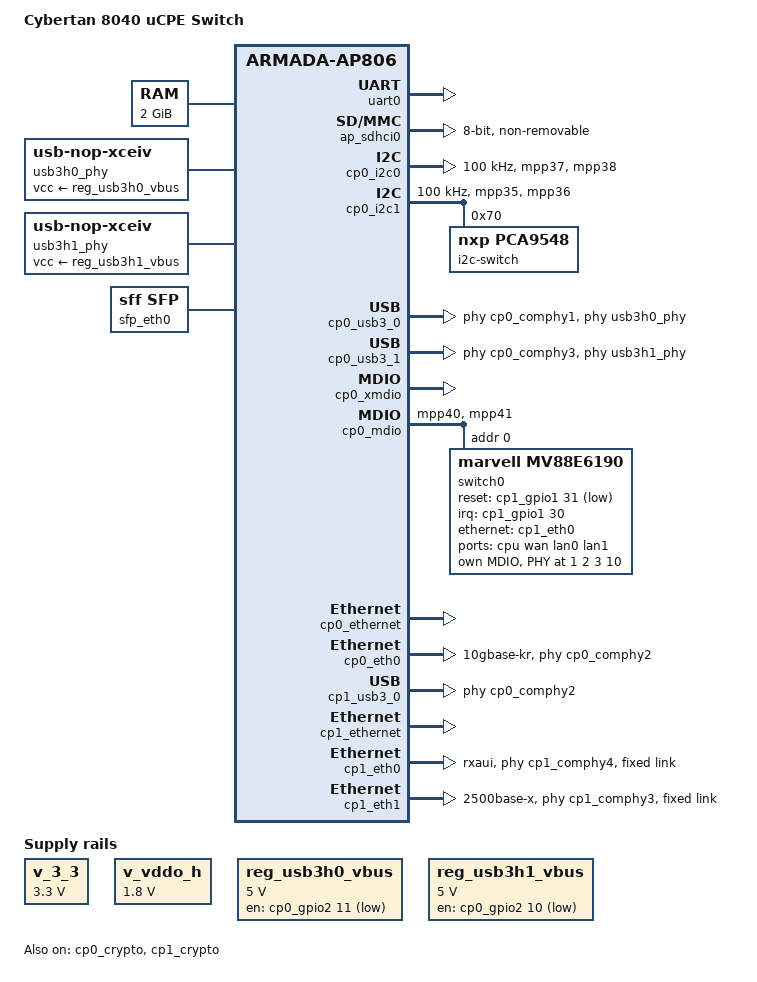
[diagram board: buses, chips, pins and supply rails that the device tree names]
// SPDX-License-Identifier: (GPL-2.0+ OR MIT)
/*
 * Copyright (C) 2016 Marvell Technology Group Ltd.
 *
 * Device Tree file for the Cybertan Armada 8040 based switch
 */

#include "armada-8040.dtsi"

#include <dt-bindings/gpio/gpio.h>

/ {
	model = "Cybertan 8040 uCPE Switch";
	compatible = "cybertan,armada8040-ucpe", "marvell,armada8040",
			"marvell,armada-ap806-quad", "marvell,armada-ap806";

	chosen {
		stdout-path = "serial0:115200n8";
	};

	memory@0 {
		device_type = "memory";
		reg = <0x0 0x0 0x0 0x80000000>;
	};

	aliases {
		ethernet0 = &cp0_eth0;
		ethernet1 = &cp1_eth0;
		ethernet2 = &cp1_eth1;
	};

	/* Regulator labels correspond with schematics */
	v_3_3: regulator-3-3v {
		compatible = "regulator-fixed";
		regulator-name = "v_3_3";
		regulator-min-microvolt = <3300000>;
		regulator-max-microvolt = <3300000>;
		regulator-always-on;
		status = "okay";
	};

	v_vddo_h: regulator-1-8v {
		compatible = "regulator-fixed";
		regulator-name = "v_vddo_h";
		regulator-min-microvolt = <1800000>;
		regulator-max-microvolt = <1800000>;
		regulator-always-on;
		status = "okay";
	};
	reg_usb3h0_vbus: USB3-Right-Port-vbus {
		compatible = "regulator-fixed";
		pinctrl-names = "default";
		pinctrl-0 = <&CP0_usb3_port0_en>;
		regulator-name = "reg-usb3h0-vbus";
		regulator-min-microvolt = <5000000>;
		regulator-max-microvolt = <5000000>;
		enable-active-low;
		gpio = <&cp0_gpio2 11 GPIO_ACTIVE_LOW>; /* GPIO[43]*/
		status = "okay";
	};
	reg_usb3h1_vbus: USB3-LEFT-Port-vbus {
		compatible = "regulator-fixed";
		pinctrl-names = "default";
		pinctrl-0 = <&CP0_usb3_port1_en>;
		regulator-name = "reg-usb3h1-vbus";
		regulator-min-microvolt = <5000000>;
		regulator-max-microvolt = <5000000>;
		enable-active-low;
		gpio = <&cp0_gpio2 10 GPIO_ACTIVE_LOW>; /*GPIO[44]*/
		status = "okay";
	};

	usb3h0_phy: usb3_phy0 {
		compatible = "usb-nop-xceiv";
		vcc-supply = <&reg_usb3h0_vbus>;
	};

	usb3h1_phy: usb3_phy1 {
		compatible = "usb-nop-xceiv";
		vcc-supply = <&reg_usb3h1_vbus>;
	};

	sfp_eth0: sfp-eth0 {
		compatible = "sff,sfp";
		status = "okay";
	};

        switch {
                compatible = "marvell,mvmdio-uio";
                status = "okay";
                mii-bus = <&cp0_mdio>;
        };

};

&uart0 {
	status = "okay";
	pinctrl-0 = <&uart0_pins>;
	pinctrl-names = "default";
};

&ap_sdhci0 {
	bus-width = <8>;
	/*
	 * Not stable in HS modes - phy needs "more calibration", so add
	 * the "slow-mode" and disable SDR104, SDR50 and DDR50 modes.
	 */
	marvell,xenon-phy-slow-mode;
	no-1-8-v;
	no-sd;
	no-sdio;
	non-removable;
	status = "okay";
	vqmmc-supply = <&v_vddo_h>;
};

&cp0_pinctrl {
	CP0_usb3_port0_en: xhci0-vbus-pins {
		marvell,pins = "mpp43";
		marvell,function = "gpio";
	};
	CP0_usb3_port1_en: xhci1-vbus-pins {
		marvell,pins = "mpp42";
		marvell,function = "gpio";
	};
	cp0_ge_mdio_pins: ge-mdio-pins {
		marvell,pins = "mpp40", "mpp41";
		marvell,function = "ge";
	};
	cp0_i2c1_pins: i2c1-pins {
		marvell,pins = "mpp35", "mpp36";
		marvell,function = "i2c1";
	};
	cp0_i2c0_pins: i2c0-pins {
		marvell,pins = "mpp37", "mpp38";
		marvell,function = "i2c0";
	};
};

&cp0_i2c0 {
	clock-frequency = <100000>;
	pinctrl-names = "default";
	pinctrl-0 = <&cp0_i2c0_pins>;
	status = "okay";
};

&cp0_i2c1 {
	clock-frequency = <100000>;
	pinctrl-names = "default";
	pinctrl-0 = <&cp0_i2c1_pins>;
	status = "okay";

	i2c-switch@70 {
		compatible = "nxp,pca9548";
		#address-cells = <1>;
		#size-cells = <0>;
		reg = <0x70>;

		sfpp0_i2c: i2c@0 {
			#address-cells = <1>;
			#size-cells = <0>;
			reg = <0>;
		};
		sfpp1_i2c: i2c@1 {
			#address-cells = <1>;
			#size-cells = <0>;
			reg = <1>;
		};
		sfp_1g_i2c: i2c@2 {
			#address-cells = <1>;
			#size-cells = <0>;
			reg = <2>;
		};
	};
};

&cp0_crypto {
	status = "okay";
};

&cp0_usb3_0 {
	status = "okay";
	usb-phy = <&usb3h0_phy>;
	phys = <&cp0_comphy1 0 >;
	phy-names = "usb";
};


&cp0_usb3_1 {
	status = "okay";
	usb-phy = <&usb3h1_phy>;
	phys = <&cp0_comphy3 1 >;
	phy-names = "usb";
};

&cp1_gpio1 {
	status = "okay";
	interrupt-controller;
	#interrupt-cells = <2>;
};

&cp0_xmdio {
	status = "okay";
};

&cp0_mdio {
	pinctrl-names = "ge";
	pinctrl-0 = <&cp0_ge_mdio_pins>;
	status = "okay";

	#address-cells = <1>;
	#size-cells = <0>;
	//interrupt-parent = <&gpio0>;
	//interrupts = <27 IRQ_TYPE_LEVEL_LOW>;
	//interrupt-controller;
	#interrupt-cells = <2>;

	switch0: switch@0 {
		compatible = "marvell,mv88e6190";
		pinctrl-0 = <&cp1_pinctrl_gpio_switch0>;
		pinctrl-names = "default";
		reg = <0>;
		dsa,member = <0 0>;

		#address-cells = <1>;
		#size-cells = <0>;

		eeprom-length = <65536>;

		interrupt-parent = <&cp1_gpio1>;
		interrupts = <30 IRQ_TYPE_LEVEL_LOW>;
		interrupt-controller;
		#interrupt-cells = <2>;

		reset-gpios = <&cp1_gpio1 31 GPIO_ACTIVE_LOW>;

		ports {
			#address-cells = <1>;
			#size-cells = <0>;

			port@10 {
				reg = <0xa>;
				label = "cpu";
				ethernet = <&cp1_eth0>;
			};

			port@1 {
				reg = <1>;
				label = "wan";
				phy-handle = <&switch0phy0>;
			};

			port@2 {
				reg = <2>;
				label = "lan0";
				phy-handle = <&switch0phy1>;
			};

			port@3 {
				reg = <3>;
				label = "lan1";
				phy-handle = <&switch0phy2>;
			};

		};

		mdio {
			#address-cells = <1>;
			#size-cells = <0>;

			switch0phy0: switch0phy0@1 {
				reg = <0x1>;
			};
			switch0phy1: switch0phy1@2 {
				reg = <0x2>;
			};
			switch0phy2: switch0phy2@3 {
				reg = <0x3>;
			};

			switch0phy9: switch0phy9@10 {
				reg = <0xa>;
				phy-mode = "rxaui";
			};
		};

	};
};

&cp0_ethernet {
	status = "okay";
};

&cp0_eth0 {
	status = "okay";
	phy-mode = "10gbase-kr";
	/* Generic PHY, providing serdes lanes */
	phys = <&cp0_comphy2 0>;
	managed = "in-band-status";
	sfp = <&sfp_eth0>;
};

&cp1_pinctrl {
	cp1_pinctrl_gpio_switch0: pinctrl_gpio_switch0 {
		marvell,pins = "mpp30", "mpp31";
		marvell,function = "gpio";
	};
};

&cp1_crypto {
	status = "okay";
};

&cp1_usb3_0 {
	status = "okay";
	phys = <&cp0_comphy2 0 >;
	phy-names = "usb";
};
&cp1_ethernet {
	status = "okay";
};

&cp1_eth0 {
	status = "okay";
	manages = "in-band-status";

	phy-mode = "rxaui";
	phys = <&cp1_comphy4 0>, <&cp1_comphy5 0>;
	//phy-handle = <&switch0phy9>;
	fixed-link {
		speed = <10000>;
		full-duplex;
	};
};

&cp1_eth1 {
	status = "okay";

	phy-mode = "2500base-x";
	phys = <&cp1_comphy3 2>;

	fixed-link {
		speed = <2500>;
		full-duplex;
	};
};



